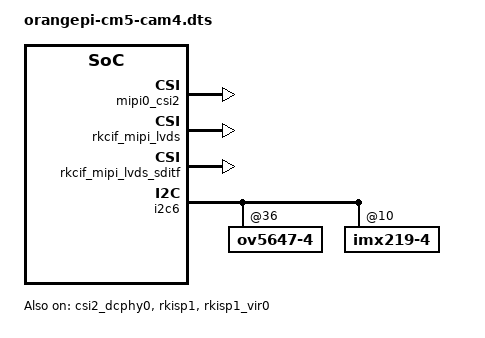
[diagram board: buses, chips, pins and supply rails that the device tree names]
/dts-v1/;
/plugin/;

/ {
	fragment@0 {
		target = <&csi2_dcphy0>;

		__overlay__ {
			status = "okay";
		};
	};

	fragment@1 {
		target = <&mipi0_csi2>;

		__overlay__ {
			status = "okay";
		};
	};

	fragment@2 {
		target = <&rkcif_mipi_lvds>;

		__overlay__ {
			status = "okay";
		};
	};

	fragment@3 {
		target = <&rkcif_mipi_lvds_sditf>;

		__overlay__ {
			status = "okay";
		};
	};

	fragment@4 {
		target = <&rkisp1>;

		__overlay__ {
			status = "okay";
		};
	};

	fragment@5 {
		target = <&rkisp1_vir0>;

		__overlay__ {
			status = "okay";
		};
	};

	fragment@6 {
		target = <&i2c6>;

		__overlay__ {
			status = "okay";

			ov5647-4@36 {
				status = "okay";
			};

			imx219-4@10 {
				status = "okay";
			};
		};
	};
};
